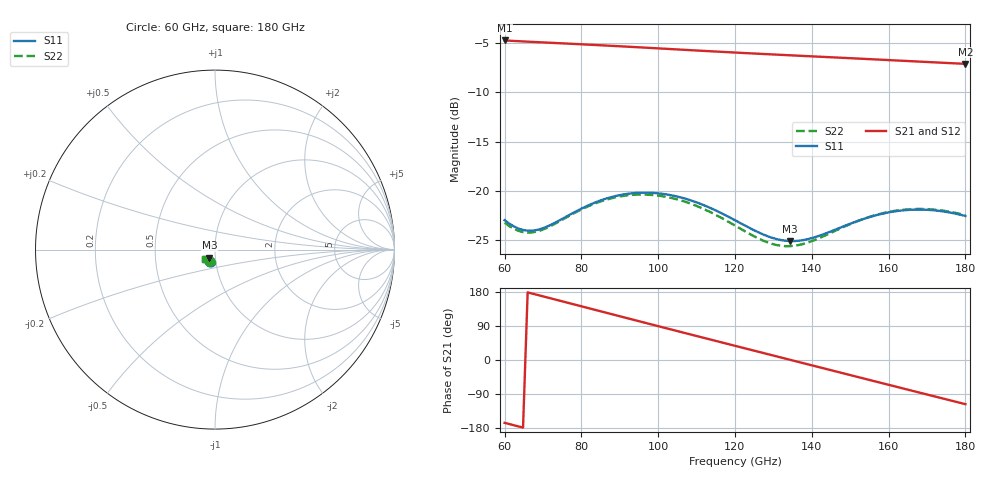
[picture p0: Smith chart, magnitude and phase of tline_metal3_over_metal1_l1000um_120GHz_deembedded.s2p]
! Created with skrf 2.2.0 (http://scikit-rf.org).
# GHz S DB R 50.0
! Port[1] = P1
! Port[2] = P2
!freq dBS11 angS11 dBS21 angS21 dBS12 angS12 dBS22 angS22
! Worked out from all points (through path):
!   101 points, 60 GHz to 180 GHz, reference 50 ohm
!   highest |S21| = -4.71 dB at 60 GHz (marker M1); lowest = -7.1 dB at 180 GHz (marker M2)
!   group delay of S21, straight-line fit = 7.19 ps
!   lowest |S11| = -25.1 dB at 134.4 GHz (marker M3), VSWR 1.12, Z = 46.8 - j4.31 ohm
!   |S11| at or under -10 dB: start of sweep to end of sweep
!   |S22| runs from -25.6 to -20.4 dB; largest |S21 - S12| = 5.7e-14
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60  -23.00 -113.1  -4.71 -165.8  -4.71 -165.8  -23.26 -111.9
64.8  -24.00 -104.4  -4.81 -178.4  -4.81 -178.4  -24.21 -102.8
68.4  -24.00 -97.4  -4.88 172.2  -4.88 172.2  -24.15 -95.7
74.4  -23.00 -90.8  -4.99 156.4  -4.99 156.4  -23.09 -89.4
80.4  -21.75 -91.5  -5.11 140.6  -5.11 140.6  -21.84 -90.5
86.4  -20.81 -96.9  -5.23 124.9  -5.23 124.9  -20.92 -96.2
91.2  -20.37 -102.8  -5.32 112.3  -5.32 112.3  -20.52 -102.4
96  -20.20 -109.4  -5.43 99.7  -5.43 99.7  -20.39 -109.1
100.8  -20.30 -116.1  -5.53 87.2  -5.53 87.2  -20.54 -115.9
105.6  -20.66 -122.4  -5.64 74.7  -5.64 74.7  -20.96 -122.2
110.4  -21.25 -127.8  -5.74 62.3  -5.74 62.3  -21.62 -127.7
120  -23.01 -134.0  -5.94 37.5  -5.94 37.5  -23.55 -133.1
127.2  -24.43 -131.9  -6.08 18.9  -6.08 18.9  -25.06 -129.7
134.4  -25.13 -124.1  -6.22 0.4  -6.22 0.4  -25.64 -120.2
140.4  -24.78 -117.6  -6.33 -15.1  -6.33 -15.1  -25.08 -113.1
145.2  -24.11 -114.9  -6.42 -27.4  -6.42 -27.4  -24.25 -110.7
151.2  -23.19 -115.2  -6.54 -42.8  -6.54 -42.8  -23.21 -111.6
160.8  -22.16 -121.3  -6.72 -67.5  -6.72 -67.5  -22.10 -118.7
165.6  -21.95 -125.6  -6.81 -79.8  -6.81 -79.8  -21.88 -123.4
170.4  -21.96 -130.0  -6.91 -92.0  -6.91 -92.0  -21.88 -128.2
175.2  -22.17 -134.1  -7.00 -104.3  -7.00 -104.3  -22.09 -132.6
180  -22.58 -137.5  -7.09 -116.5  -7.09 -116.5  -22.49 -136.2
